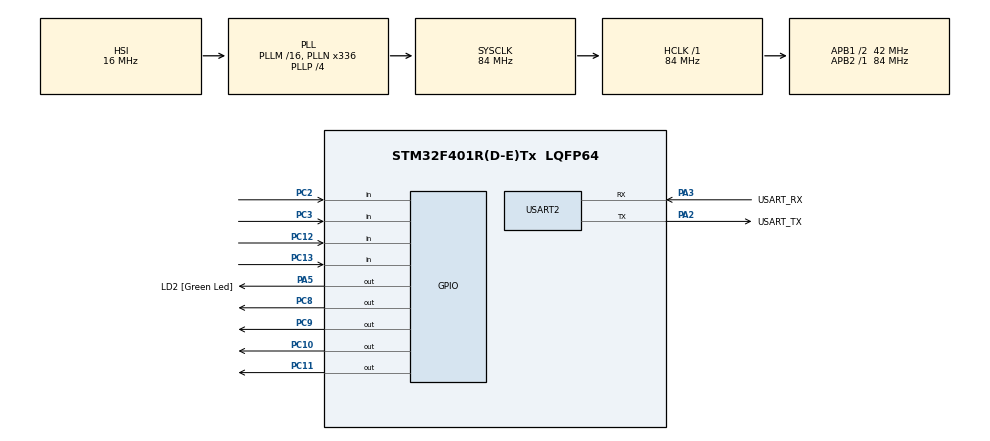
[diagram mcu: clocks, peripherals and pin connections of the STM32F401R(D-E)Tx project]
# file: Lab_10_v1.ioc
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Dma.Request0=USART2_TX
Dma.USART2_TX.0.Direction=DMA_MEMORY_TO_PERIPH
Dma.USART2_TX.0.FIFOMode=DMA_FIFOMODE_DISABLE
Dma.USART2_TX.0.Instance=DMA1_Stream6
Dma.USART2_TX.0.MemDataAlignment=DMA_MDATAALIGN_BYTE
Dma.USART2_TX.0.MemInc=DMA_MINC_ENABLE
Dma.USART2_TX.0.Mode=DMA_NORMAL
Dma.USART2_TX.0.PeriphDataAlignment=DMA_PDATAALIGN_BYTE
Dma.USART2_TX.0.PeriphInc=DMA_PINC_DISABLE
Dma.USART2_TX.0.Priority=DMA_PRIORITY_LOW
Mcu.Family=STM32F4
Mcu.Name=STM32F401R(D-E)Tx
Mcu.Package=LQFP64
NVIC.DMA1_Stream6_IRQn=true\:0\:0\:false\:false\:true\:false\:true\:true
NVIC.PriorityGroup=NVIC_PRIORITYGROUP_0
NVIC.TIM2_IRQn=true\:0\:0\:false\:false\:true\:true\:true\:true
NVIC.USART2_IRQn=true\:0\:0\:false\:false\:true\:true\:true\:true
PA13.GPIO_Label=TMS
PA13.Mode=Serial_Wire
PA13.Signal=SYS_JTMS-SWDIO
PA14.GPIO_Label=TCK
PA14.Mode=Serial_Wire
PA14.Signal=SYS_JTCK-SWCLK
PA2.GPIO_Label=USART_TX
PA2.GPIO_Mode=GPIO_MODE_AF_PP
PA2.GPIO_PuPd=GPIO_NOPULL
PA2.GPIO_Speed=GPIO_SPEED_FREQ_LOW
PA2.Mode=Asynchronous
PA2.Signal=USART2_TX
PA3.GPIO_Label=USART_RX
PA3.GPIO_Mode=GPIO_MODE_AF_PP
PA3.GPIO_PuPd=GPIO_NOPULL
PA3.GPIO_Speed=GPIO_SPEED_FREQ_LOW
PA3.Mode=Asynchronous
PA3.Signal=USART2_RX
PA5.GPIO_Label=LD2 [Green Led]
PA5.GPIO_Mode=GPIO_MODE_OUTPUT_PP
PA5.GPIO_PuPd=GPIO_NOPULL
PA5.GPIO_Speed=GPIO_SPEED_FREQ_LOW
PA5.Signal=GPIO_Output
PB3.GPIO_Label=SWO
PB3.Signal=SYS_JTDO-SWO
PC10.Signal=GPIO_Output
PC11.Signal=GPIO_Output
PC12.Signal=GPIO_Input
PC13-ANTI_TAMP.GPIO_PuPd=GPIO_NOPULL
PC13-ANTI_TAMP.Signal=GPIO_Input
PC14-OSC32_IN.Mode=LSE-External-Oscillator
PC14-OSC32_IN.Signal=RCC_OSC32_IN
PC15-OSC32_OUT.Mode=LSE-External-Oscillator
PC15-OSC32_OUT.Signal=RCC_OSC32_OUT
PC2.Signal=GPIO_Input
PC3.Signal=GPIO_Input
PC8.Signal=GPIO_Output
PC9.Signal=GPIO_Output
PH0\ -\ OSC_IN.Mode=HSE-External-Clock-Source
PH0\ -\ OSC_IN.Signal=RCC_OSC_IN
PH1\ -\ OSC_OUT.Mode=HSE-External-Clock-Source
PH1\ -\ OSC_OUT.Signal=RCC_OSC_OUT
ProjectManager.HeapSize=0x200
ProjectManager.StackSize=0x400
ProjectManager.TargetToolchain=STM32CubeIDE
RCC.48MHZClocksFreq_Value=48000000
RCC.AHBFreq_Value=84000000
RCC.APB1CLKDivider=RCC_HCLK_DIV2
RCC.APB1Freq_Value=42000000
RCC.APB1TimFreq_Value=84000000
RCC.APB2Freq_Value=84000000
RCC.APB2TimFreq_Value=84000000
RCC.CortexFreq_Value=84000000
RCC.HCLKFreq_Value=84000000
RCC.HSE_VALUE=8000000
RCC.HSI_VALUE=16000000
RCC.PLLN=336
RCC.PLLP=RCC_PLLP_DIV4
RCC.PLLQ=7
RCC.SYSCLKFreq_VALUE=84000000
RCC.SYSCLKSource=RCC_SYSCLKSOURCE_PLLCLK
RCC.VCOOutputFreq_Value=336000000
TIM2.Period=10-1
TIM2.Prescaler=8400-1
USART2.VirtualMode=VM_ASYNC
VP_TIM2_VS_ClockSourceINT.Mode=Internal
board=NUCLEO-F401RE

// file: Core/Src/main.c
/* USER CODE BEGIN Header */
/**
  ******************************************************************************
  * @file           : main.c
  * @brief          : Main program body
  ******************************************************************************
  * @attention
  *
  * Copyright (c) 2024 STMicroelectronics.
  * All rights reserved.
  *
  * This software is licensed under terms that can be found in the LICENSE file
  * in the root directory of this software component.
  * If no LICENSE file comes with this software, it is provided AS-IS.
  *
  ******************************************************************************
  */
/* USER CODE END Header */
#include "main.h"

/* USER CODE BEGIN Includes */
#include <stdio.h>
/* USER CODE END Includes */

/* USER CODE BEGIN PD */
#define NUM_DEBOUNCE 4 //debounce parameter
/* USER CODE END PD */

TIM_HandleTypeDef htim2;

UART_HandleTypeDef huart2;
DMA_HandleTypeDef hdma_usart2_tx;

/* USER CODE BEGIN PV */
const int NUM_COLS = 4;
const int NUM_ROWS = 4;
GPIO_PinState row[4];
char string[64];
uint16_t COLS_PIN[4] = { //pin of the columns
		GPIO_PIN_8,
		GPIO_PIN_9,
		GPIO_PIN_10,
		GPIO_PIN_11,
};
uint16_t ROWS_PIN[4] = { //pin of the rows
		GPIO_PIN_12,
		GPIO_PIN_13,
		GPIO_PIN_2,
		GPIO_PIN_3,
};
int idx_col=0; //current index of the column
char CHARS[4][4] = { //characters of the keyboard
		{'A','B','C','D'},
		{'E','F','G','H'},
		{'I','J','K','L'},
		{'M','N','O','P'},
};
int next_col=0; //counter for the next column index
int not_pressed_counter[4][4] = {0}; //counter for the not pressed button
int cnt=0; //counter for the time instant to check the rows
int pressed_button[4][4] = {0}; //matrix that save if the button was previously pressed
/* USER CODE END PV */

void SystemClock_Config(void);
static void MX_GPIO_Init(void);
static void MX_DMA_Init(void);
static void MX_USART2_UART_Init(void);
static void MX_TIM2_Init(void);

/* USER CODE BEGIN 0 */

void HAL_TIM_PeriodElapsedCallback(TIM_HandleTypeDef* htim) {
	if(htim->Instance == TIM2) {

		for(int k = 0; k < NUM_ROWS; k++){ //read each row
		   row[k] = HAL_GPIO_ReadPin(GPIOC, ROWS_PIN[k]);
		   not_pressed_counter[k][idx_col] += row[k]; //add 1 if the button is not pressed
	    }
		//check for the debouncing phenomena before sending the character
		if(cnt % NUM_DEBOUNCE == 0) { //Every NUM_DEBOUNCE time, check if a button was pressed
			for(int i = 0; i < NUM_ROWS; i++) {
				//print the button if for NUM_DEBOUNCE times was 0 (pressed) and was not previously pressed
			   if(not_pressed_counter[i][idx_col] == 0 && !pressed_button[i][idx_col]) {
					pressed_button[i][idx_col] = 1; //Set that the button was pressed
					int length = snprintf(string, sizeof(string), "%c\r\n",CHARS[i][idx_col]);
					if( HAL_UART_GetState(&huart2)==HAL_UART_STATE_READY ){
						HAL_UART_Transmit_DMA(&huart2, string, length);
					}
					//if now is not pressed and it was previously pressed
				} else if(not_pressed_counter[i][idx_col] > 0 && pressed_button[i][idx_col]){
					pressed_button[i][idx_col] = 0; //set that the button was not pressed
				}
			   not_pressed_counter[i][idx_col] = 0; //reset the counter
			}
		}

		HAL_GPIO_WritePin(GPIOC, COLS_PIN[idx_col], GPIO_PIN_RESET); //reset the column after reading
		next_col = (idx_col+1)%NUM_COLS; //index of the next column
		//set the next column to 1 before reading the current column:
		HAL_GPIO_WritePin(GPIOC, COLS_PIN[next_col], GPIO_PIN_SET);
		idx_col = (idx_col + 1) % NUM_COLS;//increase the value to go to the next column

		if(idx_col == (NUM_COLS-1)){ //increment the counter only at the last column
			cnt = (cnt + 1) % NUM_DEBOUNCE;
		}
	}
}

/* USER CODE END 0 */

int main(void)
{

  /* MCU Configuration--------------------------------------------------------*/

  /* Reset of all peripherals, Initializes the Flash interface and the Systick. */
  HAL_Init();

  /* Configure the system clock */
  SystemClock_Config();

  /* Initialize all configured peripherals */
  MX_GPIO_Init();
  MX_DMA_Init();
  MX_USART2_UART_Init();
  MX_TIM2_Init();
  /* USER CODE BEGIN 2 */
  HAL_TIM_Base_Start_IT(&htim2);

  for(int k=0; k<NUM_COLS; k++){ //initialization of the columns
	  HAL_GPIO_WritePin(GPIOC, COLS_PIN[k], GPIO_PIN_RESET);
  }

  /* USER CODE END 2 */

  /* Infinite loop */
  while (1)
  {

  }
}

void SystemClock_Config(void)
{
  RCC_OscInitTypeDef RCC_OscInitStruct = {0};
  RCC_ClkInitTypeDef RCC_ClkInitStruct = {0};

  /** Configure the main internal regulator output voltage
  */
  __HAL_RCC_PWR_CLK_ENABLE();
  __HAL_PWR_VOLTAGESCALING_CONFIG(PWR_REGULATOR_VOLTAGE_SCALE2);

  /** Initializes the RCC Oscillators according to the specified parameters
  * in the RCC_OscInitTypeDef structure.
  */
  RCC_OscInitStruct.OscillatorType = RCC_OSCILLATORTYPE_HSI;
  RCC_OscInitStruct.HSIState = RCC_HSI_ON;
  RCC_OscInitStruct.HSICalibrationValue = RCC_HSICALIBRATION_DEFAULT;
  RCC_OscInitStruct.PLL.PLLState = RCC_PLL_ON;
  RCC_OscInitStruct.PLL.PLLSource = RCC_PLLSOURCE_HSI;
  RCC_OscInitStruct.PLL.PLLM = 16;
  RCC_OscInitStruct.PLL.PLLN = 336;
  RCC_OscInitStruct.PLL.PLLP = RCC_PLLP_DIV4;
  RCC_OscInitStruct.PLL.PLLQ = 7;
  if (HAL_RCC_OscConfig(&RCC_OscInitStruct) != HAL_OK)
  {
    Error_Handler();
  }

  /** Initializes the CPU, AHB and APB buses clocks
  */
  RCC_ClkInitStruct.ClockType = RCC_CLOCKTYPE_HCLK|RCC_CLOCKTYPE_SYSCLK
                              |RCC_CLOCKTYPE_PCLK1|RCC_CLOCKTYPE_PCLK2;
  RCC_ClkInitStruct.SYSCLKSource = RCC_SYSCLKSOURCE_PLLCLK;
  RCC_ClkInitStruct.AHBCLKDivider = RCC_SYSCLK_DIV1;
  RCC_ClkInitStruct.APB1CLKDivider = RCC_HCLK_DIV2;
  RCC_ClkInitStruct.APB2CLKDivider = RCC_HCLK_DIV1;

  if (HAL_RCC_ClockConfig(&RCC_ClkInitStruct, FLASH_LATENCY_2) != HAL_OK)
  {
    Error_Handler();
  }
}

static void MX_TIM2_Init(void)
{

  TIM_ClockConfigTypeDef sClockSourceConfig = {0};
  TIM_MasterConfigTypeDef sMasterConfig = {0};

  htim2.Instance = TIM2;
  htim2.Init.Prescaler = 8400-1;
  htim2.Init.CounterMode = TIM_COUNTERMODE_UP;
  htim2.Init.Period = 10-1;
  htim2.Init.ClockDivision = TIM_CLOCKDIVISION_DIV1;
  htim2.Init.AutoReloadPreload = TIM_AUTORELOAD_PRELOAD_DISABLE;
  if (HAL_TIM_Base_Init(&htim2) != HAL_OK)
  {
    Error_Handler();
  }
  sClockSourceConfig.ClockSource = TIM_CLOCKSOURCE_INTERNAL;
  if (HAL_TIM_ConfigClockSource(&htim2, &sClockSourceConfig) != HAL_OK)
  {
    Error_Handler();
  }
  sMasterConfig.MasterOutputTrigger = TIM_TRGO_RESET;
  sMasterConfig.MasterSlaveMode = TIM_MASTERSLAVEMODE_DISABLE;
  if (HAL_TIMEx_MasterConfigSynchronization(&htim2, &sMasterConfig) != HAL_OK)
  {
    Error_Handler();
  }

}

static void MX_USART2_UART_Init(void)
{

  huart2.Instance = USART2;
  huart2.Init.BaudRate = 115200;
  huart2.Init.WordLength = UART_WORDLENGTH_8B;
  huart2.Init.StopBits = UART_STOPBITS_1;
  huart2.Init.Parity = UART_PARITY_NONE;
  huart2.Init.Mode = UART_MODE_TX_RX;
  huart2.Init.HwFlowCtl = UART_HWCONTROL_NONE;
  huart2.Init.OverSampling = UART_OVERSAMPLING_16;
  if (HAL_UART_Init(&huart2) != HAL_OK)
  {
    Error_Handler();
  }

}

static void MX_DMA_Init(void)
{

  /* DMA controller clock enable */
  __HAL_RCC_DMA1_CLK_ENABLE();

  /* DMA interrupt init */
  /* DMA1_Stream6_IRQn interrupt configuration */
  HAL_NVIC_SetPriority(DMA1_Stream6_IRQn, 0, 0);
  HAL_NVIC_EnableIRQ(DMA1_Stream6_IRQn);

}

static void MX_GPIO_Init(void)
{
  GPIO_InitTypeDef GPIO_InitStruct = {0};

  /* GPIO Ports Clock Enable */
  __HAL_RCC_GPIOC_CLK_ENABLE();
  __HAL_RCC_GPIOH_CLK_ENABLE();
  __HAL_RCC_GPIOA_CLK_ENABLE();
  __HAL_RCC_GPIOB_CLK_ENABLE();

  /*Configure GPIO pin Output Level */
  HAL_GPIO_WritePin(LD2_GPIO_Port, LD2_Pin, GPIO_PIN_RESET);

  /*Configure GPIO pin Output Level */
  HAL_GPIO_WritePin(GPIOC, GPIO_PIN_8|GPIO_PIN_9|GPIO_PIN_10|GPIO_PIN_11, GPIO_PIN_RESET);

  /*Configure GPIO pins : PC13 PC2 PC3 PC12 */
  GPIO_InitStruct.Pin = GPIO_PIN_13|GPIO_PIN_2|GPIO_PIN_3|GPIO_PIN_12;
  GPIO_InitStruct.Mode = GPIO_MODE_INPUT;
  GPIO_InitStruct.Pull = GPIO_NOPULL;
  HAL_GPIO_Init(GPIOC, &GPIO_InitStruct);

  /*Configure GPIO pin : LD2_Pin */
  GPIO_InitStruct.Pin = LD2_Pin;
  GPIO_InitStruct.Mode = GPIO_MODE_OUTPUT_PP;
  GPIO_InitStruct.Pull = GPIO_NOPULL;
  GPIO_InitStruct.Speed = GPIO_SPEED_FREQ_LOW;
  HAL_GPIO_Init(LD2_GPIO_Port, &GPIO_InitStruct);

  /*Configure GPIO pins : PC8 PC9 PC10 PC11 */
  GPIO_InitStruct.Pin = GPIO_PIN_8|GPIO_PIN_9|GPIO_PIN_10|GPIO_PIN_11;
  GPIO_InitStruct.Mode = GPIO_MODE_OUTPUT_PP;
  GPIO_InitStruct.Pull = GPIO_NOPULL;
  GPIO_InitStruct.Speed = GPIO_SPEED_FREQ_LOW;
  HAL_GPIO_Init(GPIOC, &GPIO_InitStruct);

}

void Error_Handler(void)
{
  __disable_irq();
  while (1)
  {
  }
}
